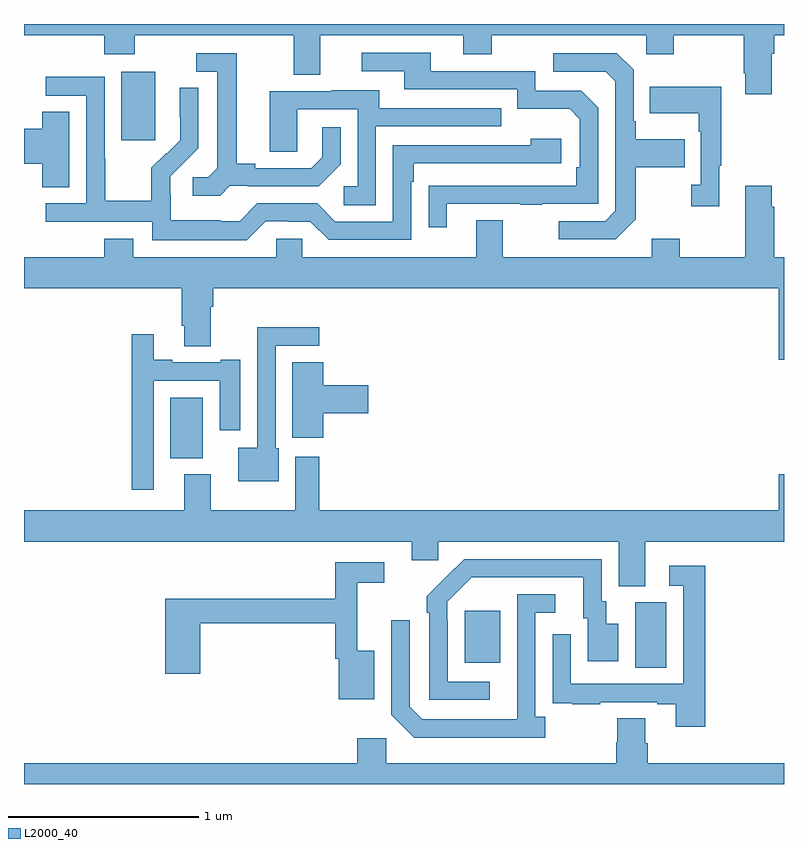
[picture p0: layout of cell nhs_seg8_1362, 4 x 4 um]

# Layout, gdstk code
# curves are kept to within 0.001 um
import gdstk
lib = gdstk.Library(unit=1e-6, precision=1e-09)
def R(c, l, rs):  # rectangles x0, y0, x1, y1
    for r in rs: c.add(gdstk.rectangle(r[:2], r[2:], *l))
def P(c, l, *ps):  # polygons
    for p in ps: c.add(gdstk.Polygon(p, *l))
L2000_40 = (2000, 40)

nhs_seg8_1362 = lib.new_cell('nhs_seg8_1362')
R(nhs_seg8_1362, L2000_40, [(200.216,1106.512,200.38,1106.856), (199.319,1106.537,199.507,1106.812), (197.771,1107.614,197.941,1107.934), (197.513,1109.289,197.692,1109.65)])
P(nhs_seg8_1362, L2000_40, [(200.935,1109.744),(200.948,1109.744),(200.948,1109.84),(201,1109.84),(201,1109.9),(197,1109.9),(197,1109.84),(197.423,1109.84),(197.423,1109.741),(197.583,1109.741),(197.583,1109.84),(198.419,1109.84),(198.419,1109.632),(198.559,1109.632),(198.559,1109.84),(199.313,1109.84),(199.313,1109.741),(199.461,1109.741),(199.461,1109.84),(200.274,1109.84),(200.274,1109.741),(200.421,1109.741),(200.421,1109.84),(200.788,1109.84),(200.788,1109.641),(200.795,1109.641),(200.795,1109.529),(200.935,1109.529)],
  [(199.225,1108.953),(199.615,1108.953),(199.615,1108.948),(199.727,1108.948),(199.727,1108.953),(200.022,1108.953),(200.022,1109.46),(199.932,1109.55),(199.692,1109.55),(199.692,1109.652),(199.141,1109.652),(199.141,1109.748),(198.777,1109.748),(198.777,1109.652),(199.001,1109.652),(199.001,1109.556),(199.596,1109.556),(199.596,1109.453),(199.873,1109.453),(199.926,1109.4),(199.926,1109.146),(199.906,1109.146),(199.906,1109.049),(199.129,1109.048),(199.129,1108.83),(199.225,1108.83)],
  [(200.221,1108.873),(200.221,1109.146),(200.477,1109.146),(200.477,1109.293),(200.221,1109.293),(200.221,1109.389),(200.208,1109.389),(200.208,1109.658),(200.121,1109.745),(199.785,1109.745),(199.785,1109.649),(200.061,1109.649),(200.112,1109.598),(200.112,1108.917),(200.058,1108.863),(199.815,1108.863),(199.815,1108.767),(200.115,1108.767)],
  [(198.084,1109.049),(198.178,1109.049),(198.178,1109.046),(198.55,1109.046),(198.666,1109.162),(198.666,1109.356),(198.569,1109.356),(198.569,1109.199),(198.512,1109.142),(198.217,1109.142),(198.217,1109.165),(198.121,1109.165),(198.121,1109.745),(197.907,1109.745),(197.907,1109.649),(198.017,1109.649),(198.017,1109.141),(197.97,1109.094),(197.889,1109.094),(197.889,1108.997),(198.032,1108.997)],
  [(198.273,1108.863),(198.389,1108.863),(198.389,1108.86),(198.507,1108.86),(198.603,1108.764),(199.038,1108.764),(199.038,1109.069),(199.051,1109.069),(199.051,1109.166),(199.828,1109.166),(199.828,1109.296),(199.667,1109.296),(199.667,1109.262),(198.942,1109.262),(198.942,1108.86),(198.639,1108.86),(198.543,1108.956),(198.228,1108.956),(198.135,1108.863),(198.035,1108.863),(198.035,1108.867),(197.772,1108.867),(197.772,1109.001),(197.77,1109.001),(197.77,1109.098),(197.916,1109.246),(197.916,1109.564),(197.82,1109.564),(197.82,1109.41),(197.822,1109.41),(197.822,1109.288),(197.751,1109.217),(197.748,1109.22),(197.671,1109.143),(197.671,1108.969),(197.427,1108.969),(197.427,1109.192),(197.424,1109.192),(197.424,1109.622),(197.115,1109.622),(197.115,1109.523),(197.328,1109.523),(197.328,1108.956),(197.115,1108.956),(197.115,1108.86),(197.676,1108.86),(197.676,1108.763),(198.173,1108.763)],
  [(200.659,1109.153),(200.671,1109.153),(200.671,1109.569),(200.293,1109.569),(200.293,1109.429),(200.55,1109.429),(200.55,1109.333),(200.562,1109.333),(200.562,1109.054),(200.511,1109.054),(200.511,1108.941),(200.659,1108.941)],
  [(198.852,1109.361),(199.511,1109.361),(199.511,1109.457),(198.871,1109.457),(198.871,1109.551),(198.617,1109.551),(198.617,1109.547),(198.293,1109.547),(198.293,1109.227),(198.438,1109.227),(198.438,1109.451),(198.756,1109.451),(198.756,1109.046),(198.684,1109.046),(198.684,1108.945),(198.852,1108.945)],
  [(197.239,1109.438),(197.096,1109.438),(197.096,1109.348),(197,1109.348),(197,1109.165),(197.096,1109.165),(197.096,1109.041),(197.239,1109.041)],
  [(201,1108.672),(200.948,1108.672),(200.948,1108.937),(200.935,1108.937),(200.935,1109.05),(200.795,1109.05),(200.795,1108.672),(200.451,1108.672),(200.451,1108.771),(200.303,1108.771),(200.303,1108.672),(199.519,1108.672),(199.519,1108.867),(199.379,1108.867),(199.379,1108.672),(198.465,1108.672),(198.465,1108.77),(198.327,1108.77),(198.327,1108.672),(197.575,1108.672),(197.575,1108.771),(197.423,1108.771),(197.423,1108.672),(197,1108.672),(197,1108.508),(197.831,1108.508),(197.831,1108.312),(197.843,1108.312),(197.843,1108.204),(197.983,1108.204),(197.983,1108.412),(197.996,1108.412),(197.996,1108.508),(200.972,1108.508),(200.972,1108.134),(201,1108.134)],
  [(198.34,1107.666),(198.324,1107.666),(198.324,1108.206),(198.553,1108.206),(198.553,1108.304),(198.228,1108.304),(198.228,1107.67),(198.128,1107.67),(198.128,1107.494),(198.34,1107.494)],
  [(197.682,1108.023),(198.029,1108.023),(198.029,1107.762),(198.139,1107.762),(198.139,1108.132),(198.035,1108.132),(198.035,1108.119),(197.779,1108.119),(197.779,1108.132),(197.683,1108.132),(197.683,1108.267),(197.566,1108.267),(197.566,1107.45),(197.682,1107.45)],
  [(198.575,1107.851),(198.811,1107.851),(198.811,1107.998),(198.575,1107.998),(198.575,1108.121),(198.413,1108.121),(198.413,1107.723),(198.575,1107.723)],
  [(200.269,1107.176),(201,1107.176),(201,1107.529),(200.972,1107.529),(200.972,1107.34),(198.554,1107.34),(198.554,1107.622),(198.428,1107.622),(198.428,1107.34),(197.983,1107.34),(197.983,1107.529),(197.843,1107.529),(197.843,1107.34),(197,1107.34),(197,1107.176),(199.04,1107.176),(199.04,1107.078),(199.179,1107.078),(199.179,1107.176),(200.129,1107.176),(200.129,1106.941),(200.269,1106.941)],
  [(199.45,1106.439),(199.23,1106.439),(199.23,1106.759),(199.227,1106.759),(199.227,1106.859),(199.356,1106.988),(199.943,1106.988),(199.943,1106.772),(199.967,1106.772),(199.967,1106.547),(200.128,1106.547),(200.128,1106.743),(200.065,1106.743),(200.065,1106.862),(200.04,1106.862),(200.04,1107.084),(199.316,1107.084),(199.119,1106.889),(199.119,1106.801),(199.134,1106.801),(199.134,1106.343),(199.45,1106.343)],
  [(198.844,1106.602),(198.755,1106.602),(198.755,1106.958),(198.895,1106.958),(198.895,1107.066),(198.637,1107.066),(198.637,1106.875),(197.744,1106.875),(197.744,1106.481),(197.927,1106.481),(197.927,1106.746),(198.637,1106.746),(198.637,1106.559),(198.656,1106.559),(198.656,1106.345),(198.844,1106.345)],
  [(200.585,1107.049),(200.397,1107.049),(200.397,1106.943),(200.469,1106.943),(200.469,1106.427),(199.878,1106.427),(199.878,1106.689),(199.782,1106.689),(199.782,1106.434),(199.783,1106.434),(199.783,1106.325),(199.885,1106.325),(199.885,1106.319),(200.033,1106.319),(200.033,1106.331),(200.333,1106.331),(200.333,1106.319),(200.429,1106.319),(200.429,1106.202),(200.585,1106.202)],
  [(199.744,1106.254),(199.692,1106.254),(199.692,1106.802),(199.795,1106.802),(199.795,1106.898),(199.596,1106.898),(199.595,1106.241),(199.095,1106.241),(199.029,1106.307),(199.029,1106.761),(198.933,1106.761),(198.933,1106.265),(199.054,1106.144),(199.744,1106.144)],
  [(201,1106.008),(200.282,1106.008),(200.282,1106.114),(200.269,1106.114),(200.269,1106.246),(200.122,1106.246),(200.122,1106.121),(200.117,1106.121),(200.117,1106.008),(198.906,1106.008),(198.906,1106.14),(198.755,1106.14),(198.755,1106.008),(197,1106.008),(197,1105.9),(201,1105.9)])

lib.write_gds('nhs_seg8_1362.gds')
